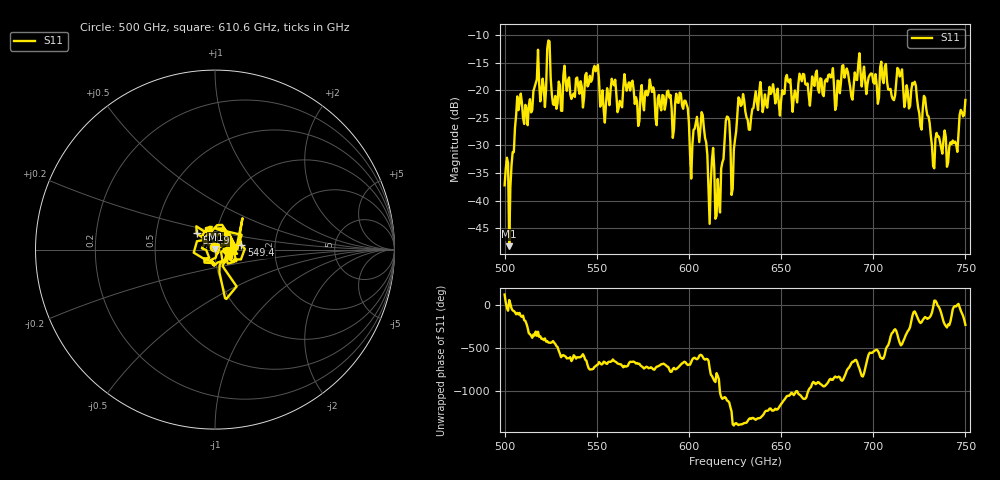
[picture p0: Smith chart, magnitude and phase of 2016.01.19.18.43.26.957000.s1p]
!Created with skrf (http://scikit-rf.org).
# GHz S RI R 50.0
!freq ReS11 ImS11
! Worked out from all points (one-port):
!   401 points, 500 GHz to 750 GHz, reference 50 ohm
!   lowest |S11| = -48.3 dB at 502.5 GHz (marker M1), VSWR 1.01, Z = 50.2 + j0.321 ohm
!   |S11| at or under -10 dB: start of sweep to end of sweep
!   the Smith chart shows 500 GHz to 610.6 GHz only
!   S11 on the Smith chart (normalised r, x): 500 GHz: 0.99, +0.02; 531.9 GHz: 0.80, +0.15; 549.4 GHz: 1.34, +0.07; 610.6 GHz: 1.01, +0.02
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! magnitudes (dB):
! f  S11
! 500 GHz  -37.2
! 502.5 GHz  -48.3
! 508.1 GHz  -22.4
! 520.6 GHz  -17.9
! 523.8 GHz  -11.0
! 526.9 GHz  -22.7
! 531.2 GHz  -23.8
! 531.9 GHz  -17.3
! 549.4 GHz  -16.6
! 553.1 GHz  -20.0
! 562.5 GHz  -21.9
! 593.8 GHz  -22.2
! 601.2 GHz  -36.0
! 608.1 GHz  -26.8
! 610.6 GHz  -38.2
! 615.6 GHz  -36.1
! 620.6 GHz  -24.8
! 623.8 GHz  -37.9
! 625 GHz  -29.0
! 628.1 GHz  -22.9
! 656.2 GHz  -23.9
! 687.5 GHz  -19.5
! 714.4 GHz  -17.5
! 718.8 GHz  -20.3
! 728.8 GHz  -23.3
! 732.5 GHz  -33.8
! 745 GHz  -29.8
! 750 GHz  -21.8
